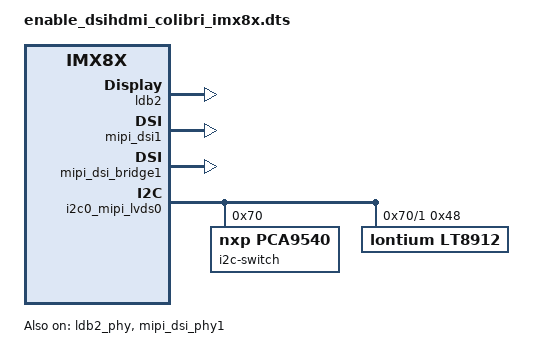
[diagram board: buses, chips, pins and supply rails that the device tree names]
#include "dt-bindings/gpio/gpio.h"
#include "dt-bindings/pinctrl/pads-imx8qxp.h"

/dts-v1/;
/plugin/;
/ {
	compatible = "toradex,colibri-imx8x";
	fragment@0 {
		target = <&ldb2>;
		__overlay__ {
			status = "okay";
		};
	};

	fragment@1 {
		target = <&ldb2_phy>;
		__overlay__ {
			status = "okay";
		};
	};

	fragment@2 {
		target = <&mipi_dsi_phy1>;
		__overlay__ {
			status = "okay";
		};
	};

	fragment@3 {
		target = <&mipi_dsi1>;
		__overlay__ {
			status = "okay";
		};
	};

	fragment@4 {
		target = <&mipi_dsi_bridge1>;
		__overlay__ {
			status = "okay";
			port@1 {
				mipi_dsi_bridge1_out: endpoint {
					//remote-endpoint = <&lt8912_1_in>;
				};
			};
		};
	};

	fragment@5 {
		target = <&iomuxc>; 
		__overlay__ {
			colibri-imx8qxp {
				/* DSI/LVDS Hot Plug Detect on FFC (X2) */
				pinctrl_gpio_hpd: gpio-hpd {
					fsl,pins = <
						SC_P_MIPI_DSI1_GPIO0_00_LSIO_GPIO1_IO31		0x20		/* SODIMM 138 */
					>;
				};
			};
		};
	};

	fragment@6 {
		target = <&i2c0_mipi_lvds0>;

		__overlay__ {
			status = "okay";

			/* DSI to HDMI Adapter V1.1A */
			i2c-switch@70 {
				compatible = "nxp,pca9540";
				#address-cells = <1>;
				#size-cells = <0>;
				reg = <0x70>;
				i2c-mux-idle-disconnect;

				i2c_sw0: i2c-sw@0 {
					#address-cells = <1>;
					#size-cells = <0>;
					reg = <0>;

					/* DDC/EDID */
				};

				i2c-sw@1 {
					#address-cells = <1>;
					#size-cells = <0>;
					reg = <1>;

					lt8912@48 {
						compatible = "lontium,lt8912";
						//ddc-i2c-bus = <&i2c_sw0>;
						//hpd-gpios = <&gpio1 31 GPIO_ACTIVE_HIGH>;
						pinctrl-names = "default";
						//pinctrl-0 = <&pinctrl_gpio_hpd>;
						reg = <0x48>;

						port {
							lt8912_1_in: endpoint {
								//remote-endpoint = <&mipi_dsi_bridge1_out>;
							};
						};
					};
				};
			};
		};
	};
};
